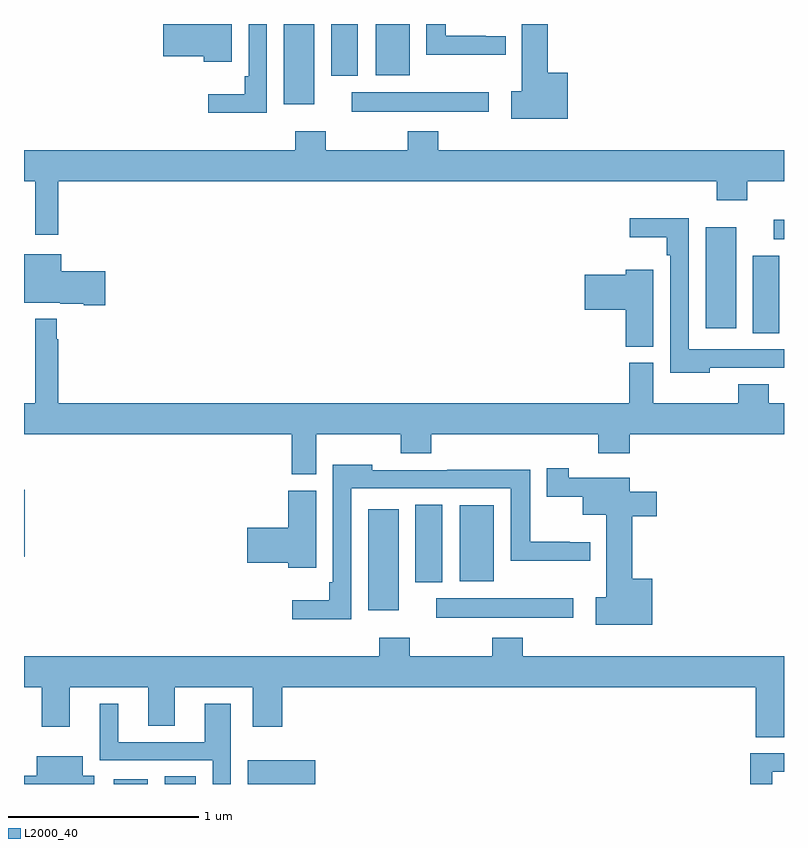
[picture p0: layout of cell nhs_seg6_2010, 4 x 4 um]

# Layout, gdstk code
import gdstk
lib = gdstk.Library(unit=1e-6, precision=1e-09)
def R(c, l, rs):  # rectangles x0, y0, x1, y1
    for r in rs: c.add(gdstk.rectangle(r[:2], r[2:], *l))
def P(c, l, *ps):  # polygons
    for p in ps: c.add(gdstk.Polygon(p, *l))
L2000_40 = (2000, 40)

nhs_seg6_2010 = lib.new_cell('nhs_seg6_2010')
R(nhs_seg6_2010, L2000_40, [(231.473,941.5,231.652,941.524), (231.74,941.5,231.904,941.54), (232.178,941.5,232.534,941.626), (233.169,942.374,233.89,942.478), (232.811,942.414,232.972,942.946), (233.06,942.563,233.2,942.971), (233.294,942.566,233.473,942.967), (231,942.695,231.005,943.048), (234.836,943.873,234.976,944.281), (234.587,943.899,234.748,944.431), (234.945,944.366,235,944.47), (232.725,945.038,233.446,945.142), (232.367,945.078,232.528,945.5), (232.616,945.227,232.756,945.5), (232.85,945.23,233.029,945.5)])
P(nhs_seg6_2010, L2000_40, [(233.536,945.436),(233.429,945.436),(233.429,945.438),(233.221,945.438),(233.221,945.5),(233.117,945.5),(233.117,945.338),(233.536,945.338)],
  [(232.278,945.5),(232.182,945.5),(232.182,945.226),(232.162,945.226),(232.162,945.13),(231.969,945.13),(231.969,945.032),(232.278,945.032)],
  [(233.863,945.244),(233.756,945.244),(233.756,945.5),(233.621,945.5),(233.621,945.147),(233.565,945.147),(233.565,945.002),(233.863,945.002)],
  [(232.093,945.5),(231.732,945.5),(231.732,945.329),(231.947,945.329),(231.947,945.302),(232.093,945.302)],
  [(231.181,944.672),(234.647,944.672),(234.647,944.573),(234.807,944.573),(234.807,944.672),(235,944.672),(235,944.836),(233.18,944.836),(233.18,944.935),(233.02,944.935),(233.02,944.836),(232.587,944.836),(232.587,944.935),(232.427,944.935),(232.427,944.836),(231,944.836),(231,944.672),(231.059,944.672),(231.059,944.391),(231.181,944.391)],
  [(234.609,943.692),(235,943.692),(235,943.788),(234.498,943.788),(234.498,944.477),(234.189,944.477),(234.189,944.378),(234.382,944.378),(234.382,944.282),(234.402,944.282),(234.402,943.664),(234.609,943.664)],
  [(231.427,944.199),(231.196,944.199),(231.196,944.287),(231,944.287),(231,944.033),(231.192,944.033),(231.192,944.027),(231.314,944.027),(231.314,944.021),(231.427,944.021)],
  [(234.313,944.206),(234.167,944.206),(234.167,944.18),(233.952,944.18),(233.952,943.997),(234.167,943.997),(234.167,943.801),(234.313,943.801)],
  [(232.537,943.34),(232.984,943.34),(232.984,943.241),(233.144,943.241),(233.144,943.34),(234.023,943.34),(234.023,943.241),(234.188,943.241),(234.188,943.34),(235,943.34),(235,943.504),(234.92,943.504),(234.92,943.603),(234.76,943.603),(234.76,943.504),(234.313,943.504),(234.313,943.716),(234.185,943.716),(234.185,943.504),(231.181,943.504),(231.181,943.841),(231.173,943.841),(231.173,943.948),(231.059,943.948),(231.059,943.504),(231,943.504),(231,943.34),(232.409,943.34),(232.409,943.129),(232.537,943.129)],
  [(232.722,943.056),(233.561,943.056),(233.561,942.674),(233.98,942.674),(233.98,942.772),(233.873,942.772),(233.873,942.774),(233.665,942.774),(233.665,943.154),(233.227,943.154),(233.227,943.152),(232.833,943.152),(232.833,943.18),(232.626,943.18),(232.626,942.562),(232.606,942.562),(232.606,942.466),(232.413,942.466),(232.413,942.368),(232.722,942.368)],
  [(234.307,942.58),(234.2,942.58),(234.2,942.91),(234.331,942.91),(234.331,943.039),(234.187,943.039),(234.187,943.111),(233.868,943.111),(233.868,943.162),(233.75,943.162),(233.75,943.012),(233.942,943.012),(233.942,942.917),(234.065,942.917),(234.065,942.483),(234.009,942.483),(234.009,942.338),(234.307,942.338)],
  [(232.537,943.044),(232.391,943.044),(232.391,942.848),(232.176,942.848),(232.176,942.665),(232.391,942.665),(232.391,942.638),(232.537,942.638)],
  [(235,942.172),(233.624,942.172),(233.624,942.271),(233.464,942.271),(233.464,942.172),(233.031,942.172),(233.031,942.271),(232.871,942.271),(232.871,942.172),(231,942.172),(231,942.008),(231.094,942.008),(231.094,941.802),(231.241,941.802),(231.241,942.008),(231.653,942.008),(231.653,941.806),(231.793,941.806),(231.793,942.008),(232.205,942.008),(232.205,941.802),(232.358,941.802),(232.358,942.008),(234.851,942.008),(234.851,941.746),(235,941.746)],
  [(232.089,941.923),(231.95,941.923),(231.95,941.721),(231.496,941.721),(231.496,941.923),(231.399,941.923),(231.399,941.625),(231.993,941.625),(231.993,941.5),(232.089,941.5)],
  [(234.939,941.565),(235,941.565),(235,941.661),(234.823,941.661),(234.823,941.5),(234.939,941.5)],
  [(231.37,941.544),(231.31,941.544),(231.31,941.647),(231.068,941.647),(231.068,941.544),(231,941.544),(231,941.5),(231.37,941.5)])

lib.write_gds('nhs_seg6_2010.gds')
